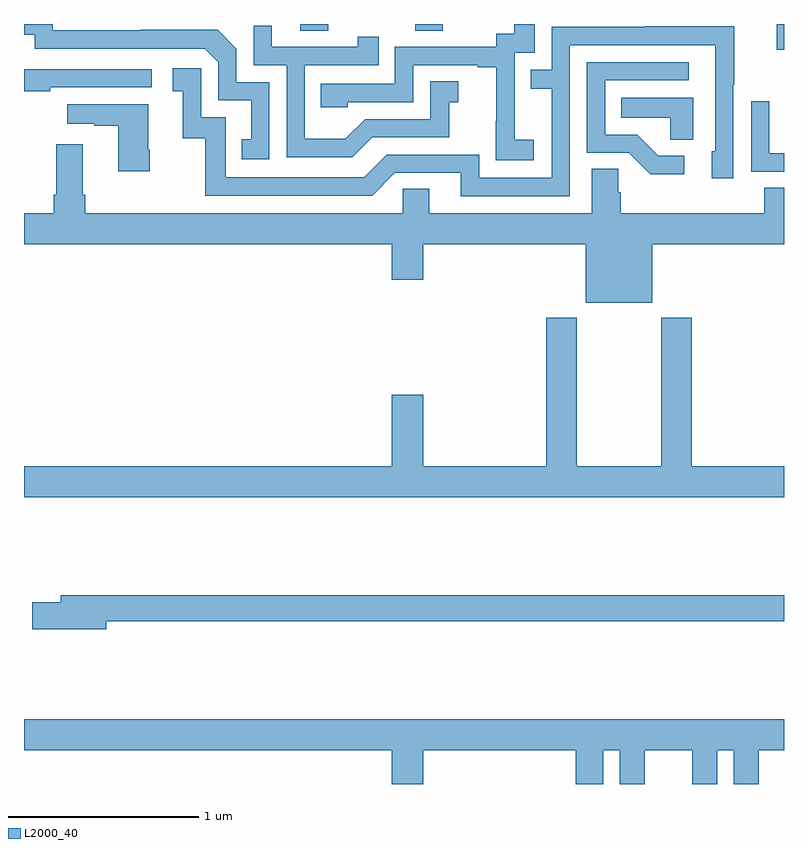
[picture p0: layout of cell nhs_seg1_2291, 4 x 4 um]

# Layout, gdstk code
import gdstk
lib = gdstk.Library(unit=1e-6, precision=1e-09)
def R(c, l, rs):  # rectangles x0, y0, x1, y1
    for r in rs: c.add(gdstk.rectangle(r[:2], r[2:], *l))
def P(c, l, *ps):  # polygons
    for p in ps: c.add(gdstk.Polygon(p, *l))
L2000_40 = (2000, 40)

nhs_seg1_2291 = lib.new_cell('nhs_seg1_2291')
R(nhs_seg1_2291, L2000_40, [(238.961,578.063,239,578.199), (236.453,578.164,236.601,578.199), (237.058,578.164,237.205,578.199)])
P(nhs_seg1_2291, L2000_40, [(236.292,577.893),(236.118,577.893),(236.118,578.07),(236.02,578.168),(235.612,578.168),(235.612,578.166),(235.152,578.166),(235.152,578.199),(235,578.199),(235,578.142),(235.056,578.142),(235.056,578.07),(235.95,578.07),(236.022,577.998),(236.022,577.797),(236.195,577.797),(236.195,577.593),(236.146,577.593),(236.146,577.488),(236.292,577.488)],
  [(237.682,577.591),(237.584,577.591),(237.584,577.82),(237.582,577.82),(237.582,578.049),(237.687,578.049),(237.687,578.199),(237.579,578.199),(237.579,578.148),(237.486,578.148),(237.486,578.079),(236.952,578.079),(236.952,577.884),(236.563,577.884),(236.563,577.761),(236.703,577.761),(236.703,577.788),(237.048,577.788),(237.048,577.983),(237.389,577.983),(237.389,577.971),(237.485,577.971),(237.485,577.687),(237.484,577.687),(237.484,577.481),(237.682,577.481)],
  [(236.833,577.602),(237.237,577.602),(237.237,577.787),(237.286,577.787),(237.286,577.897),(237.138,577.897),(237.138,577.698),(236.796,577.698),(236.692,577.594),(236.478,577.594),(236.478,577.983),(236.867,577.983),(236.867,578.131),(236.756,578.131),(236.756,578.079),(236.305,578.079),(236.305,578.191),(236.208,578.191),(236.208,577.983),(236.382,577.983),(236.382,577.497),(236.728,577.497)],
  [(237.873,578.088),(238.638,578.088),(238.638,577.53),(238.619,577.53),(238.619,577.386),(238.734,577.386),(238.734,577.879),(238.737,577.879),(238.737,578.186),(238.273,578.186),(238.273,578.184),(237.777,578.184),(237.777,577.959),(237.667,577.959),(237.667,577.858),(237.777,577.858),(237.777,577.389),(237.396,577.389),(237.396,577.512),(236.91,577.512),(236.79,577.392),(236.061,577.392),(236.061,577.707),(235.932,577.707),(235.932,577.966),(235.782,577.966),(235.782,577.845),(235.835,577.845),(235.835,577.599),(235.953,577.599),(235.953,577.296),(236.832,577.296),(236.952,577.416),(237.299,577.416),(237.299,577.293),(237.873,577.293)],
  [(238.474,577.506),(238.339,577.506),(238.228,577.617),(238.059,577.617),(238.059,577.902),(238.498,577.902),(238.498,577.998),(237.963,577.998),(237.963,577.521),(238.182,577.521),(238.295,577.409),(238.474,577.409)],
  [(235.139,577.866),(235.672,577.866),(235.672,577.962),(235,577.962),(235,577.846),(235.139,577.846)],
  [(238.522,577.81),(238.144,577.81),(238.144,577.706),(238.401,577.706),(238.401,577.591),(238.522,577.591)],
  [(239,577.518),(238.923,577.518),(238.923,577.792),(238.827,577.792),(238.827,577.422),(239,577.422)],
  [(235.662,577.537),(235.654,577.537),(235.654,577.777),(235.227,577.777),(235.227,577.673),(235.37,577.673),(235.37,577.663),(235.496,577.663),(235.496,577.425),(235.662,577.425)],
  [(238.306,577.04),(239,577.04),(239,577.337),(238.895,577.337),(238.895,577.204),(238.142,577.204),(238.142,577.313),(238.128,577.313),(238.128,577.436),(237.989,577.436),(237.989,577.204),(237.133,577.204),(237.133,577.331),(236.994,577.331),(236.994,577.204),(235.322,577.204),(235.322,577.3),(235.309,577.3),(235.309,577.567),(235.169,577.567),(235.169,577.3),(235.157,577.3),(235.157,577.204),(235,577.204),(235,577.04),(236.936,577.04),(236.936,576.852),(237.1,576.852),(237.1,577.04),(237.956,577.04),(237.956,576.731),(238.306,576.731)],
  [(239,575.872),(238.514,575.872),(238.514,576.652),(238.354,576.652),(238.354,575.872),(237.909,575.872),(237.909,576.652),(237.749,576.652),(237.749,575.872),(237.1,575.872),(237.1,576.247),(236.936,576.247),(236.936,575.872),(235,575.872),(235,575.708),(239,575.708)],
  [(235.432,575.056),(239,575.056),(239,575.192),(235.193,575.192),(235.193,575.156),(235.044,575.156),(235.044,575.014),(235.432,575.014)],
  [(235,574.376),(236.936,574.376),(236.936,574.199),(237.1,574.199),(237.1,574.376),(237.905,574.376),(237.905,574.199),(238.048,574.199),(238.048,574.376),(238.136,574.376),(238.136,574.199),(238.267,574.199),(238.267,574.376),(238.517,574.376),(238.517,574.199),(238.648,574.199),(238.648,574.376),(238.736,574.376),(238.736,574.199),(238.867,574.199),(238.867,574.376),(239,574.376),(239,574.54),(235,574.54)])

lib.write_gds('nhs_seg1_2291.gds')
